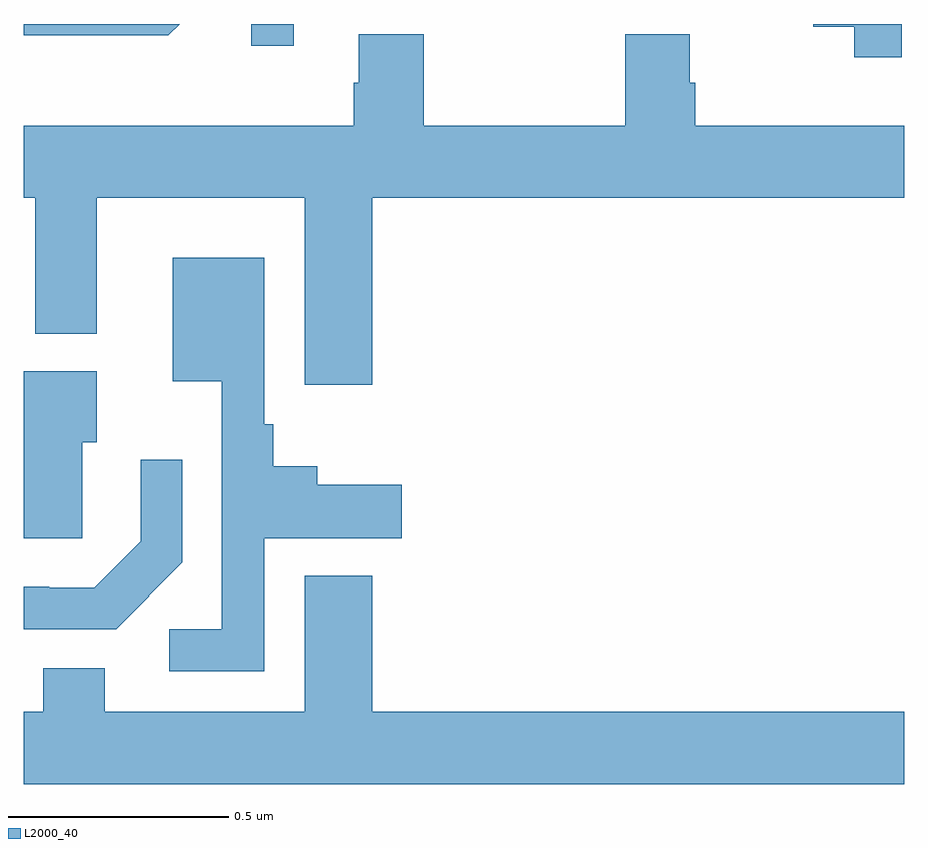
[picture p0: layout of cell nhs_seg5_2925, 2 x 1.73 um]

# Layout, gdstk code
import gdstk
lib = gdstk.Library(unit=1e-6, precision=1e-09)
def R(c, l, rs):  # rectangles x0, y0, x1, y1
    for r in rs: c.add(gdstk.rectangle(r[:2], r[2:], *l))
def P(c, l, *ps):  # polygons
    for p in ps: c.add(gdstk.Polygon(p, *l))
L2000_40 = (2000, 40)

nhs_seg5_2925 = lib.new_cell('nhs_seg5_2925')
R(nhs_seg5_2925, L2000_40, [(150.516,879.75,150.613,879.799)])
P(nhs_seg5_2925, L2000_40, [(151.995,879.799),(151.794,879.799),(151.794,879.793),(151.887,879.793),(151.887,879.723),(151.995,879.723)],
  [(150.354,879.799),(150,879.799),(150,879.773),(150.328,879.773)],
  [(150.791,879.404),(152,879.404),(152,879.568),(151.526,879.568),(151.526,879.666),(151.513,879.666),(151.513,879.776),(151.366,879.776),(151.366,879.568),(150.909,879.568),(150.909,879.776),(150.761,879.776),(150.761,879.666),(150.749,879.666),(150.749,879.568),(150,879.568),(150,879.404),(150.026,879.404),(150.026,879.095),(150.166,879.095),(150.166,879.404),(150.638,879.404),(150.638,878.979),(150.791,878.979)],
  [(150.546,878.63),(150.859,878.63),(150.859,878.752),(150.667,878.752),(150.667,878.794),(150.566,878.794),(150.566,878.89),(150.546,878.89),(150.546,879.268),(150.338,879.268),(150.338,878.987),(150.45,878.987),(150.45,878.424),(150.33,878.424),(150.33,878.328),(150.546,878.328)],
  [(150.133,878.849),(150.166,878.849),(150.166,879.01),(150,879.01),(150,878.631),(150.133,878.631)],
  [(150.285,878.499),(150.284,878.5),(150.36,878.576),(150.36,878.809),(150.266,878.809),(150.266,878.624),(150.16,878.518),(150.058,878.518),(150.058,878.52),(150,878.52),(150,878.424),(150.21,878.424)],
  [(152,878.236),(150.791,878.236),(150.791,878.545),(150.638,878.545),(150.638,878.236),(150.184,878.236),(150.184,878.335),(150.044,878.335),(150.044,878.236),(150,878.236),(150,878.072),(152,878.072)])

lib.write_gds('nhs_seg5_2925.gds')
